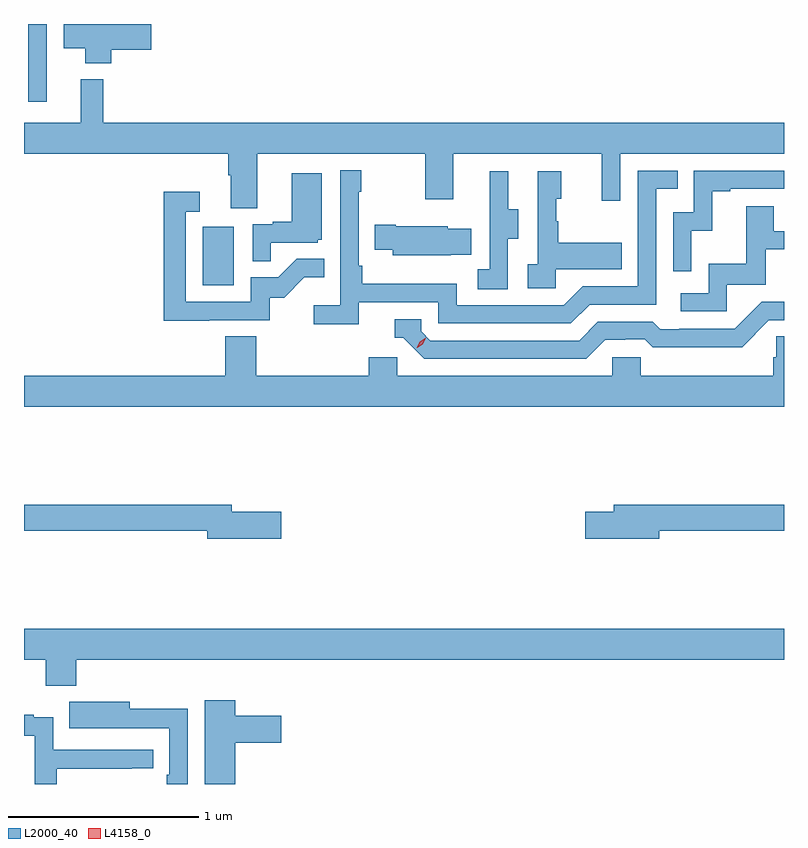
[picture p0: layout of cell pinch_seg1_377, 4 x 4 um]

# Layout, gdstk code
import gdstk
lib = gdstk.Library(unit=1e-6, precision=1e-09)
def R(c, l, rs):  # rectangles x0, y0, x1, y1
    for r in rs: c.add(gdstk.rectangle(r[:2], r[2:], *l))
def P(c, l, *ps):  # polygons
    for p in ps: c.add(gdstk.Polygon(p, *l))
L2000_40 = (2000, 40)
L4158_0 = (4158, 0)

pinch_seg1_377 = lib.new_cell('pinch_seg1_377')
R(pinch_seg1_377, L2000_40, [(971.402,533.724,971.566,534.031), (970.484,534.69,970.581,535.099)])
P(pinch_seg1_377, L2000_40, [(970.919,534.964),(971.131,534.964),(971.131,535.099),(970.67,535.099),(970.67,534.971),(970.784,534.971),(970.784,534.893),(970.919,534.893)],
  [(971.689,534.416),(972.574,534.416),(972.574,534.177),(972.721,534.177),(972.721,534.416),(973.502,534.416),(973.502,534.168),(973.599,534.168),(973.599,534.416),(974.461,534.416),(974.461,534.58),(970.877,534.58),(970.877,534.808),(970.76,534.808),(970.76,534.58),(970.461,534.58),(970.461,534.416),(971.537,534.416),(971.537,534.304),(971.549,534.304),(971.549,534.13),(971.689,534.13)],
  [(972.224,533.634),(972.642,533.634),(972.642,533.523),(973.339,533.523),(973.438,533.622),(973.788,533.622),(973.788,534.231),(973.901,534.231),(973.901,534.327),(973.692,534.327),(973.692,533.718),(973.401,533.718),(973.302,533.619),(972.738,533.619),(972.738,533.731),(972.242,533.731),(972.242,533.827),(972.222,533.827),(972.222,534.215),(972.235,534.215),(972.235,534.328),(972.126,534.328),(972.126,533.62),(971.985,533.62),(971.985,533.518),(972.224,533.518)],
  [(973.974,534.011),(974.084,534.011),(974.084,534.219),(974.179,534.219),(974.179,534.231),(974.461,534.231),(974.461,534.327),(973.986,534.327),(973.986,534.108),(973.878,534.108),(973.878,533.799),(973.974,533.799)],
  [(973.26,533.807),(973.607,533.807),(973.607,533.947),(973.273,533.947),(973.273,534.062),(973.263,534.062),(973.263,534.18),(973.288,534.18),(973.288,534.325),(973.164,534.325),(973.164,533.834),(973.113,533.834),(973.113,533.709),(973.26,533.709)],
  [(973.008,533.968),(973.063,533.968),(973.063,534.123),(973.009,534.123),(973.009,534.325),(972.911,534.325),(972.911,534.111),(972.912,534.111),(972.912,533.807),(972.849,533.807),(972.849,533.704),(973.008,533.704)],
  [(971.759,533.949),(972.006,533.949),(972.006,533.964),(972.028,533.964),(972.028,534.313),(971.87,534.313),(971.87,534.058),(971.771,534.058),(971.771,534.045),(971.664,534.045),(971.664,533.851),(971.759,533.851)],
  [(971.435,533.541),(971.754,533.541),(971.754,533.658),(971.83,533.658),(971.937,533.765),(972.041,533.765),(972.041,533.864),(971.897,533.864),(971.799,533.766),(971.655,533.766),(971.655,533.637),(971.313,533.637),(971.313,534.111),(971.386,534.111),(971.386,534.217),(971.197,534.217),(971.197,533.536),(971.435,533.536)],
  [(974.16,533.727),(974.365,533.727),(974.365,533.913),(974.461,533.913),(974.461,534.009),(974.407,534.009),(974.407,534.139),(974.263,534.139),(974.263,533.836),(974.064,533.836),(974.064,533.682),(973.917,533.682),(973.917,533.586),(974.16,533.586)],
  [(972.707,533.885),(972.815,533.885),(972.815,534.022),(972.69,534.022),(972.69,534.034),(972.418,534.034),(972.418,534.042),(972.307,534.042),(972.307,533.912),(972.401,533.912),(972.401,533.882),(972.707,533.882)],
  [(973.519,533.436),(973.626,533.436),(973.626,533.439),(973.729,533.439),(973.771,533.397),(974.004,533.397),(974.004,533.399),(974.24,533.399),(974.382,533.541),(974.461,533.541),(974.461,533.637),(974.343,533.637),(974.202,533.496),(973.909,533.496),(973.909,533.493),(973.81,533.493),(973.771,533.532),(973.482,533.532),(973.383,533.433),(972.6,533.433),(972.552,533.481),(972.552,533.544),(972.413,533.544),(972.413,533.448),(972.456,533.448),(972.567,533.337),(973.42,533.337)],
  [(974.461,533.456),(974.419,533.456),(974.419,533.346),(974.405,533.346),(974.405,533.248),(973.707,533.248),(973.707,533.346),(973.557,533.346),(973.557,533.248),(972.426,533.248),(972.426,533.346),(972.275,533.346),(972.275,533.248),(971.684,533.248),(971.684,533.456),(971.519,533.456),(971.519,533.248),(970.461,533.248),(970.461,533.084),(974.461,533.084)],
  [(973.804,532.432),(974.461,532.432),(974.461,532.568),(973.565,532.568),(973.565,532.532),(973.416,532.532),(973.416,532.39),(973.804,532.39)],
  [(971.815,532.532),(971.554,532.532),(971.554,532.568),(970.461,532.568),(970.461,532.432),(971.426,532.432),(971.426,532.39),(971.815,532.39)],
  [(970.736,531.752),(974.461,531.752),(974.461,531.916),(970.461,531.916),(970.461,531.752),(970.576,531.752),(970.576,531.617),(970.736,531.617)],
  [(971.572,531.317),(971.815,531.317),(971.815,531.459),(971.572,531.459),(971.572,531.541),(971.411,531.541),(971.411,531.099),(971.572,531.099)],
  [(971.322,531.494),(971.017,531.494),(971.017,531.532),(970.699,531.532),(970.699,531.392),(970.913,531.392),(970.913,531.393),(971.226,531.393),(971.226,531.148),(971.213,531.148),(971.213,531.099),(971.322,531.099)],
  [(970.634,531.178),(971.027,531.178),(971.027,531.183),(971.14,531.183),(971.14,531.279),(970.614,531.279),(970.614,531.451),(970.511,531.451),(970.511,531.463),(970.461,531.463),(970.461,531.354),(970.518,531.354),(970.518,531.099),(970.634,531.099)])
P(pinch_seg1_377, L4158_0, [(972.529,533.394),(972.529,533.395),(972.545,533.427),(972.576,533.447),(972.576,533.447),(972.576,533.447),(972.56,533.414),(972.53,533.394)])

lib.write_gds('pinch_seg1_377.gds')
